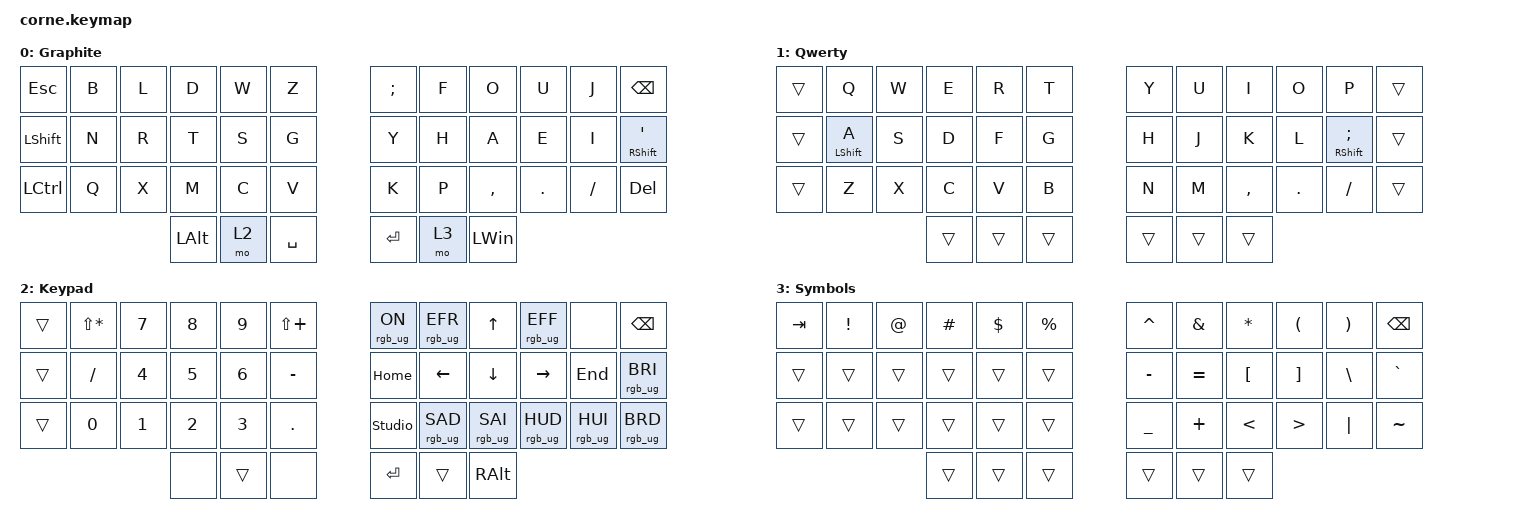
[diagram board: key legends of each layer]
/*
 * Copyright (c) 2020 The ZMK Contributors
 *
 * SPDX-License-Identifier: MIT
 */

&led_strip { chain-length = <27>; };

#include <behaviors.dtsi>
#include <dt-bindings/zmk/keys.h>
#include <dt-bindings/zmk/rgb.h>

/ {
    combos {
        compatible = "zmk,combos";

        caps_lock {
            bindings = <&kp CAPSLOCK>;
            key-positions = <5 6>;
        };

        Caps_Word {
            bindings = <&caps_word>;
            key-positions = <17 18>;
        };

        Tab {
            bindings = <&kp TAB>;
            key-positions = <2 3>;
        };

        main {
            bindings = <&tog 1>;
            key-positions = <35 34>;
        };

        L_Meta {
            bindings = <&kp LEFT_META>;
            key-positions = <26 27>;
        };

        Enter {
            bindings = <&kp ENTER>;
            key-positions = <27 28>;
        };

        Backspace {
            bindings = <&kp BACKSPACE>;
            key-positions = <25 26>;
        };
    };

    behaviors {
        hml: hml {
            compatible = "zmk,behavior-hold-tap";
            bindings = <&kp>, <&kp>;

            #binding-cells = <2>;
            tapping-term-ms = <200>;
            flavor = "tap-unless-interrupted";
            retro-tap;
            hold-trigger-key-positions = <6 7 8 9 10 11 23 22 21 20 19 18 30 31 32 33 34 35>;
        };

        hmr: hmr {
            compatible = "zmk,behavior-hold-tap";
            bindings = <&kp>, <&kp>;

            #binding-cells = <2>;
            tapping-term-ms = <200>;
            flavor = "tap-unless-interrupted";
            hold-trigger-key-positions = <0 1 2 3 4 5 12 13 14 15 16 17 24 25 26 27 28 29>;
            retro-tap;
        };
    };

    keymap {
        compatible = "zmk,keymap";

        Graphite {
            // -----------------------------------------------------------------------------------------
            // |  TAB |  Q  |  W  |  E  |  R  |  T  |   |  Y  |  U   |  I  |  O  |  P  | BKSP |
            // | CTRL |  A  |  S  |  D  |  F  |  G  |   |  H  |  J   |  K  |  L  |  ;  |  '   |
            // | SHFT |  Z  |  X  |  C  |  V  |  B  |   |  N  |  M   |  ,  |  .  |  /  | ESC  |
            //                    | GUI | LWR | SPC |   | ENT | RSE  | ALT |

            bindings = <
&kp ESCAPE        &kp B  &kp L  &kp D         &kp W  &kp Z        &kp SEMICOLON  &kp F  &kp O         &kp U       &kp J     &kp BSPC
&kp LEFT_SHIFT    &kp N  &kp R  &kp T         &kp S  &kp G        &kp Y          &kp H  &kp A         &kp E       &kp I     &hmr RIGHT_SHIFT APOSTROPHE
&kp LEFT_CONTROL  &kp Q  &kp X  &kp M         &kp C  &kp V        &kp K          &kp P  &kp COMMA     &kp PERIOD  &kp FSLH  &kp DELETE
                                &kp LEFT_ALT  &mo 2  &kp SPACE    &kp RET        &mo 3  &kp LEFT_WIN
            >;

            display-name = "Graphite";
        };

        Qwerty {
            bindings = <
&trans  &kp Q              &kp W  &kp E   &kp R   &kp T     &kp Y   &kp U   &kp I      &kp O    &kp P                       &trans
&trans  &hml LEFT_SHIFT A  &kp S  &kp D   &kp F   &kp G     &kp H   &kp J   &kp K      &kp L    &hmr RIGHT_SHIFT SEMICOLON  &trans
&trans  &kp Z              &kp X  &kp C   &kp V   &kp B     &kp N   &kp M   &kp COMMA  &kp DOT  &kp FSLH                    &trans
                                  &trans  &trans  &trans    &trans  &trans  &trans
            >;

            display-name = "Qwerty";
        };

        Keypad {
            // -----------------------------------------------------------------------------------------
            // |  TAB |  1  |  2  |  3  |  4  |  5  |   |  6  |  7  |  8  |  9  |  0  | BKSP |
            // | BTCLR| BT1 | BT2 | BT3 | BT4 | BT5 |   | LFT | DWN |  UP | RGT |     |      |
            // | SHFT |     |     |     |     |     |   |     |     |     |     |     |      |
            //                    | GUI |     | SPC |   | ENT |     | ALT |

            bindings = <
&trans  &kp LS(STAR)  &kp N7  &kp N8  &kp N9  &kp LS(PLUS)    &rgb_ug RGB_ON  &rgb_ug RGB_EFR  &kp UP_ARROW     &rgb_ug RGB_EFF  &none            &kp BSPC
&trans  &kp FSLH      &kp N4  &kp N5  &kp N6  &kp MINUS       &kp HOME        &kp LEFT         &kp DOWN_ARROW   &kp RIGHT_ARROW  &kp END          &rgb_ug RGB_BRI
&trans  &kp N0        &kp N1  &kp N2  &kp N3  &kp DOT         &studio_unlock  &rgb_ug RGB_SAD  &rgb_ug RGB_SAI  &rgb_ug RGB_HUD  &rgb_ug RGB_HUI  &rgb_ug RGB_BRD
                              &none   &trans  &none           &kp RET         &trans           &kp RALT
            >;

            display-name = "Keypad";
        };

        Symbols {
            // -----------------------------------------------------------------------------------------
            // |  TAB |  !  |  @  |  #  |  $  |  %  |   |  ^  |  &  |  *  |  (  |  )  | BKSP |
            // | CTRL |     |     |     |     |     |   |  -  |  =  |  [  |  ]  |  \  |  `   |
            // | SHFT |     |     |     |     |     |   |  _  |  +  |  {  |  }  | "|" |  ~   |
            //                    | GUI |     | SPC |   | ENT |     | ALT |

            bindings = <
&kp TAB  &kp EXCL  &kp AT  &kp HASH  &kp DLLR  &kp PRCNT    &kp CARET  &kp AMPS   &kp ASTRK      &kp LPAR          &kp RPAR  &kp BSPC
&trans   &trans    &trans  &trans    &trans    &trans       &kp MINUS  &kp EQUAL  &kp LBKT       &kp RBKT          &kp BSLH  &kp GRAVE
&trans   &trans    &trans  &trans    &trans    &trans       &kp UNDER  &kp PLUS   &kp LESS_THAN  &kp GREATER_THAN  &kp PIPE  &kp TILDE
                           &trans    &trans    &trans       &trans     &trans     &trans
            >;

            display-name = "Symbols";
        };
    };

    conditional_layers { compatible = "zmk,conditional-layers"; };
};
